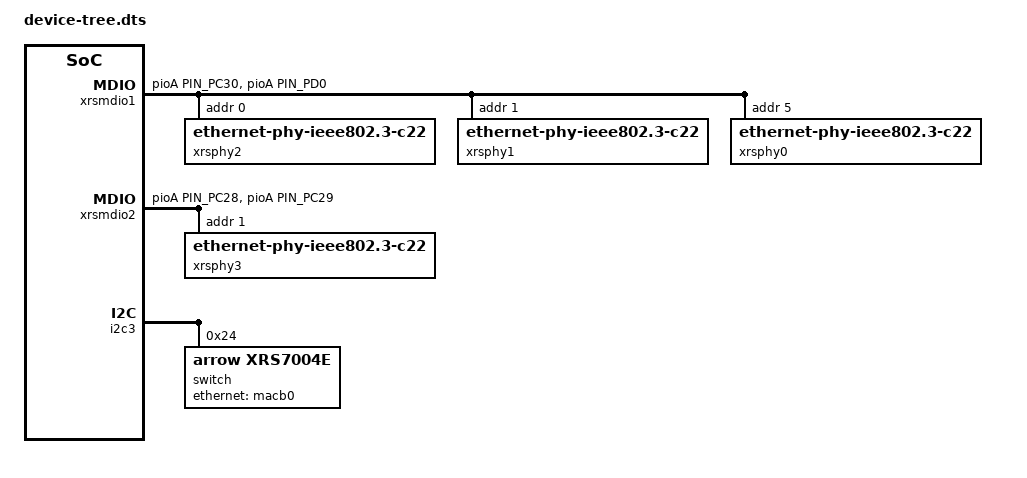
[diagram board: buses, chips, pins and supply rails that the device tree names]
/dts-v1/;

#include "at91-sama5d27_som1_ek.dts"

&i2c3 {
        switch@24 {
		compatible = "arrow,xrs7004e";
		reg = <0x24>;

		ethernet-ports {
			#address-cells = <1>;
			#size-cells = <0>;

			ethernet-port@0 {
				reg = <0>;
				label = "cpu";
				ethernet = <&macb0>;

				phy-handle = <&xrsphy0>;
				phy-mode = "rmii";
				/* fixed-link { */
				/* 	speed = <1000>; */
				/* 	full-duplex; */
				/* }; */
			};


			ethernet-port@1 {
				reg = <1>;
				label = "eth1";
				phy-handle = <&xrsphy1>;
				phy-mode = "rgmii-id";
			};

			ethernet-port@2 {
				reg = <2>;
				label = "eth2";
				phy-handle = <&xrsphy2>;
				phy-mode = "rgmii-id";
			};

			ethernet-port@3 {
				reg = <3>;
				label = "eth3";
				phy-handle = <&xrsphy3>;
				phy-mode = "rgmii-id";
			};
		};
	};
};

/ {
	aliases {
		mdio-gpio1 = &xrsmdio1;
		mdio-gpio2 = &xrsmdio2;
	};

	xrsmdio1: xrsmdio1 {
		compatible = "virtual,mdio-gpio";
		#address-cells = <1>;
		#size-cells = <0>;
		gpios = <&pioA PIN_PC30 GPIO_ACTIVE_HIGH>, <&pioA PIN_PD0 GPIO_ACTIVE_HIGH>;
		pinctrl-names = "default";
		pinctrl-0 = <&pinctrl_xrsmdio1_default>;

		xrsphy2: ethernet-phy@0 {
			compatible = "ethernet-phy-ieee802.3-c22";
			reg = <0>;
		};
		xrsphy1: ethernet-phy@1 {
			compatible = "ethernet-phy-ieee802.3-c22";
			reg = <1>;
		};
		xrsphy0: ethernet-phy@5 {
			compatible = "ethernet-phy-ieee802.3-c22";
			reg = <5>;
		};
	};

	xrsmdio2: xrsmdio2 {
		compatible = "virtual,mdio-gpio";
		#address-cells = <1>;
		#size-cells = <0>;
		gpios = <&pioA PIN_PC28 GPIO_ACTIVE_HIGH>, <&pioA PIN_PC29 GPIO_ACTIVE_HIGH>;
		pinctrl-names = "default";
		pinctrl-0 = <&pinctrl_xrsmdio2_default>;

		xrsphy3: ethernet-phy@1 {
			compatible = "ethernet-phy-ieee802.3-c22";
			reg = <1>;
		};
	};
};

&pioA {
	pinctrl_xrsmdio1_default: xrsmdio1_default {
		pinmux = <PIN_PC30__GPIO>, <PIN_PD0__GPIO>;
		bias-pull-up;
	};
	pinctrl_xrsmdio2_default: xrsmdio2_default {
		pinmux = <PIN_PC28__GPIO>, <PIN_PC29__GPIO>;
		bias-pull-up;
	};
};

&spi6 {
	/* Used for MDIO1/2 on XRS EVK */
	status = "disabled";
};
